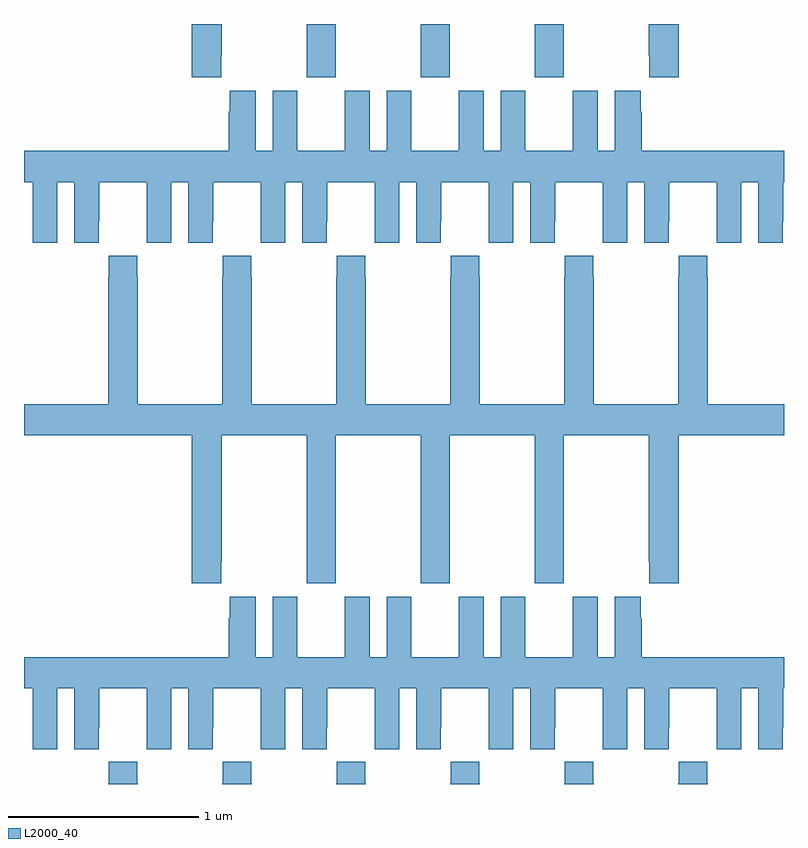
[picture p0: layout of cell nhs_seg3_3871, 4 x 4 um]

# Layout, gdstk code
import gdstk
lib = gdstk.Library(unit=1e-6, precision=1e-09)
def R(c, l, rs):  # rectangles x0, y0, x1, y1
    for r in rs: c.add(gdstk.rectangle(r[:2], r[2:], *l))
def A(c, l, x, y, w, h, nx, ny, dx, dy):  # array of equal rectangles
    R(c, l, [(x+i*dx, y+j*dy, x+i*dx+w, y+j*dy+h) for i in range(nx) for j in range(ny)])
def P(c, l, *ps):  # polygons
    for p in ps: c.add(gdstk.Polygon(p, *l))
L2000_40 = (2000, 40)

nhs_seg3_3871 = lib.new_cell('nhs_seg3_3871')
A(nhs_seg3_3871, L2000_40, 312.487, 716.121, 0.155, 0.279, 3, 1, 0.6, 0)
P(nhs_seg3_3871, L2000_40, [(314.447,716.4),(314.287,716.4),(314.287,716.233),(314.291,716.233),(314.291,716.121),(314.447,716.121)],
  [(312.037,716.233),(312.042,716.233),(312.042,716.4),(311.882,716.4),(311.882,716.121),(312.037,716.121)],
  [(311.176,715.568),(311.264,715.568),(311.264,715.248),(311.394,715.248),(311.394,715.36),(311.395,715.36),(311.395,715.568),(311.645,715.568),(311.645,715.36),(311.646,715.36),(311.646,715.248),(311.776,715.248),(311.776,715.568),(311.864,715.568),(311.864,715.248),(311.994,715.248),(311.994,715.36),(311.995,715.36),(311.995,715.568),(312.245,715.568),(312.245,715.36),(312.246,715.36),(312.246,715.248),(312.376,715.248),(312.376,715.568),(312.464,715.568),(312.464,715.248),(312.594,715.248),(312.594,715.36),(312.595,715.36),(312.595,715.568),(312.845,715.568),(312.845,715.36),(312.846,715.36),(312.846,715.248),(312.976,715.248),(312.976,715.568),(313.064,715.568),(313.064,715.248),(313.194,715.248),(313.194,715.36),(313.195,715.36),(313.195,715.568),(313.445,715.568),(313.445,715.36),(313.446,715.36),(313.446,715.248),(313.576,715.248),(313.576,715.568),(313.664,715.568),(313.664,715.248),(313.794,715.248),(313.794,715.36),(313.795,715.36),(313.795,715.568),(314.045,715.568),(314.045,715.36),(314.046,715.36),(314.046,715.248),(314.176,715.248),(314.176,715.568),(314.264,715.568),(314.264,715.248),(314.394,715.248),(314.394,715.36),(314.395,715.36),(314.395,715.568),(314.645,715.568),(314.645,715.36),(314.646,715.36),(314.646,715.248),(314.776,715.248),(314.776,715.568),(314.864,715.568),(314.864,715.248),(314.994,715.248),(314.994,715.36),(314.995,715.36),(314.995,715.568),(315,715.568),(315,715.732),(314.252,715.732),(314.252,715.937),(314.245,715.937),(314.245,716.05),(314.108,716.05),(314.108,715.732),(314.02,715.732),(314.02,716.05),(313.889,716.05),(313.889,715.732),(313.639,715.732),(313.639,716.05),(313.508,716.05),(313.508,715.732),(313.42,715.732),(313.42,716.05),(313.289,716.05),(313.289,715.732),(313.039,715.732),(313.039,716.05),(312.908,716.05),(312.908,715.732),(312.82,715.732),(312.82,716.05),(312.689,716.05),(312.689,715.732),(312.439,715.732),(312.439,716.05),(312.308,716.05),(312.308,715.732),(312.22,715.732),(312.22,716.05),(312.083,716.05),(312.083,715.937),(312.077,715.937),(312.077,715.732),(311,715.732),(311,715.568),(311.045,715.568),(311.045,715.36),(311.046,715.36),(311.046,715.248),(311.176,715.248)],
  [(312.037,713.569),(312.042,713.569),(312.042,714.236),(312.487,714.236),(312.487,713.457),(312.642,713.457),(312.642,714.236),(313.087,714.236),(313.087,713.457),(313.242,713.457),(313.242,714.236),(313.687,714.236),(313.687,713.457),(313.842,713.457),(313.842,714.236),(314.287,714.236),(314.287,713.569),(314.291,713.569),(314.291,713.457),(314.447,713.457),(314.447,714.236),(315,714.236),(315,714.4),(314.598,714.4),(314.598,715.067),(314.595,715.067),(314.595,715.18),(314.445,715.18),(314.445,715.067),(314.443,715.067),(314.443,714.4),(313.998,714.4),(313.998,715.067),(313.995,715.067),(313.995,715.18),(313.845,715.18),(313.845,715.067),(313.843,715.067),(313.843,714.4),(313.398,714.4),(313.398,715.067),(313.395,715.067),(313.395,715.18),(313.245,715.18),(313.245,715.067),(313.243,715.067),(313.243,714.4),(312.798,714.4),(312.798,715.067),(312.795,715.067),(312.795,715.18),(312.645,715.18),(312.645,715.067),(312.643,715.067),(312.643,714.4),(312.198,714.4),(312.198,715.067),(312.195,715.067),(312.195,715.18),(312.045,715.18),(312.045,715.067),(312.043,715.067),(312.043,714.4),(311.598,714.4),(311.598,715.067),(311.595,715.067),(311.595,715.18),(311.445,715.18),(311.445,715.067),(311.443,715.067),(311.443,714.4),(311,714.4),(311,714.236),(311.882,714.236),(311.882,713.457),(312.037,713.457)],
  [(311.176,712.904),(311.264,712.904),(311.264,712.584),(311.394,712.584),(311.394,712.696),(311.395,712.696),(311.395,712.904),(311.645,712.904),(311.645,712.696),(311.646,712.696),(311.646,712.584),(311.776,712.584),(311.776,712.904),(311.864,712.904),(311.864,712.584),(311.994,712.584),(311.994,712.696),(311.995,712.696),(311.995,712.904),(312.245,712.904),(312.245,712.696),(312.246,712.696),(312.246,712.584),(312.376,712.584),(312.376,712.904),(312.464,712.904),(312.464,712.584),(312.594,712.584),(312.594,712.696),(312.595,712.696),(312.595,712.904),(312.845,712.904),(312.845,712.696),(312.846,712.696),(312.846,712.584),(312.976,712.584),(312.976,712.904),(313.064,712.904),(313.064,712.584),(313.194,712.584),(313.194,712.696),(313.195,712.696),(313.195,712.904),(313.445,712.904),(313.445,712.696),(313.446,712.696),(313.446,712.584),(313.576,712.584),(313.576,712.904),(313.664,712.904),(313.664,712.584),(313.794,712.584),(313.794,712.696),(313.795,712.696),(313.795,712.904),(314.045,712.904),(314.045,712.696),(314.046,712.696),(314.046,712.584),(314.176,712.584),(314.176,712.904),(314.264,712.904),(314.264,712.584),(314.394,712.584),(314.394,712.696),(314.395,712.696),(314.395,712.904),(314.645,712.904),(314.645,712.696),(314.646,712.696),(314.646,712.584),(314.776,712.584),(314.776,712.904),(314.864,712.904),(314.864,712.584),(314.994,712.584),(314.994,712.696),(314.995,712.696),(314.995,712.904),(315,712.904),(315,713.068),(314.252,713.068),(314.252,713.273),(314.245,713.273),(314.245,713.386),(314.108,713.386),(314.108,713.068),(314.02,713.068),(314.02,713.386),(313.889,713.386),(313.889,713.068),(313.639,713.068),(313.639,713.386),(313.508,713.386),(313.508,713.068),(313.42,713.068),(313.42,713.386),(313.289,713.386),(313.289,713.068),(313.039,713.068),(313.039,713.386),(312.908,713.386),(312.908,713.068),(312.82,713.068),(312.82,713.386),(312.689,713.386),(312.689,713.068),(312.439,713.068),(312.439,713.386),(312.308,713.386),(312.308,713.068),(312.22,713.068),(312.22,713.386),(312.083,713.386),(312.083,713.273),(312.077,713.273),(312.077,713.068),(311,713.068),(311,712.904),(311.045,712.904),(311.045,712.696),(311.046,712.696),(311.046,712.584),(311.176,712.584)],
  [(314.598,712.403),(314.595,712.403),(314.595,712.516),(314.445,712.516),(314.445,712.403),(314.443,712.403),(314.443,712.4),(314.598,712.4)],
  [(313.998,712.403),(313.995,712.403),(313.995,712.516),(313.845,712.516),(313.845,712.403),(313.843,712.403),(313.843,712.4),(313.998,712.4)],
  [(313.398,712.403),(313.395,712.403),(313.395,712.516),(313.245,712.516),(313.245,712.403),(313.243,712.403),(313.243,712.4),(313.398,712.4)],
  [(312.798,712.403),(312.795,712.403),(312.795,712.516),(312.645,712.516),(312.645,712.403),(312.643,712.403),(312.643,712.4),(312.798,712.4)],
  [(311.598,712.403),(311.595,712.403),(311.595,712.516),(311.445,712.516),(311.445,712.403),(311.443,712.403),(311.443,712.4),(311.598,712.4)],
  [(312.198,712.403),(312.195,712.403),(312.195,712.516),(312.045,712.516),(312.045,712.403),(312.043,712.403),(312.043,712.4),(312.198,712.4)])

lib.write_gds('nhs_seg3_3871.gds')
